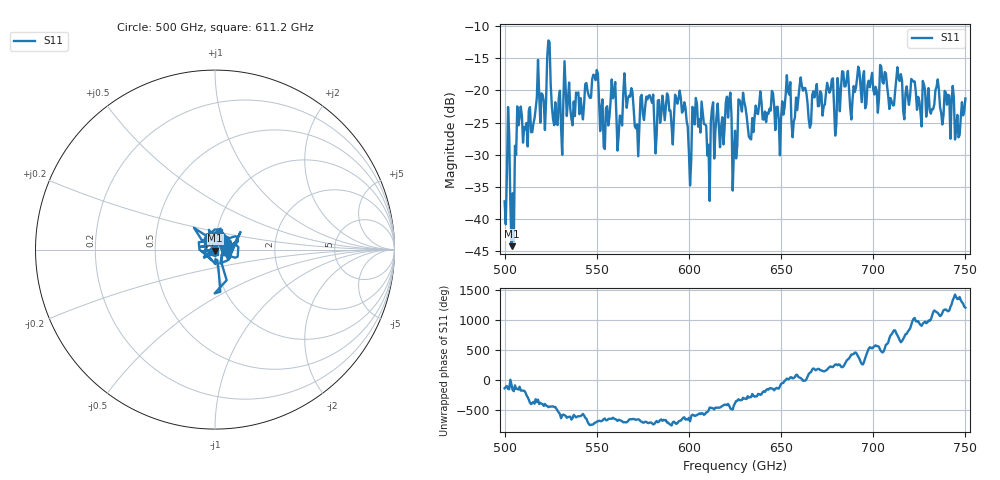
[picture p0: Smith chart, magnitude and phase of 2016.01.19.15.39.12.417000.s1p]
!Created with skrf (http://scikit-rf.org).
# GHz S RI R 50.0
!freq ReS11 ImS11
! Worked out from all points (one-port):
!   401 points, 500 GHz to 750 GHz, reference 50 ohm
!   lowest |S11| = -44.2 dB at 503.8 GHz (marker M1), VSWR 1.01, Z = 50.1 - j0.607 ohm
!   |S11| at or under -10 dB: start of sweep to end of sweep
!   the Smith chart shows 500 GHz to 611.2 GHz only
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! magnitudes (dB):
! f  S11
! 500 GHz  -37.2
! 501.2 GHz  -33.0
! 503.8 GHz  -44.2
! 508.1 GHz  -24.2
! 520.6 GHz  -20.7
! 523.8 GHz  -12.3
! 527.5 GHz  -21.9
! 531.2 GHz  -30.0
! 549.4 GHz  -18.4
! 553.1 GHz  -21.4
! 558.8 GHz  -21.2
! 562.5 GHz  -23.9
! 565.6 GHz  -20.3
! 571.9 GHz  -25.3
! 593.8 GHz  -22.1
! 600 GHz  -29.7
! 603.1 GHz  -25.3
! 610 GHz  -30.1
! 621.2 GHz  -24.2
! 625 GHz  -26.3
! 628.1 GHz  -22.2
! 633.8 GHz  -27.6
! 653.8 GHz  -20.2
! 656.2 GHz  -27.3
! 687.5 GHz  -22.7
! 718.8 GHz  -20.9
! 745.6 GHz  -23.8
! 750 GHz  -21.3
